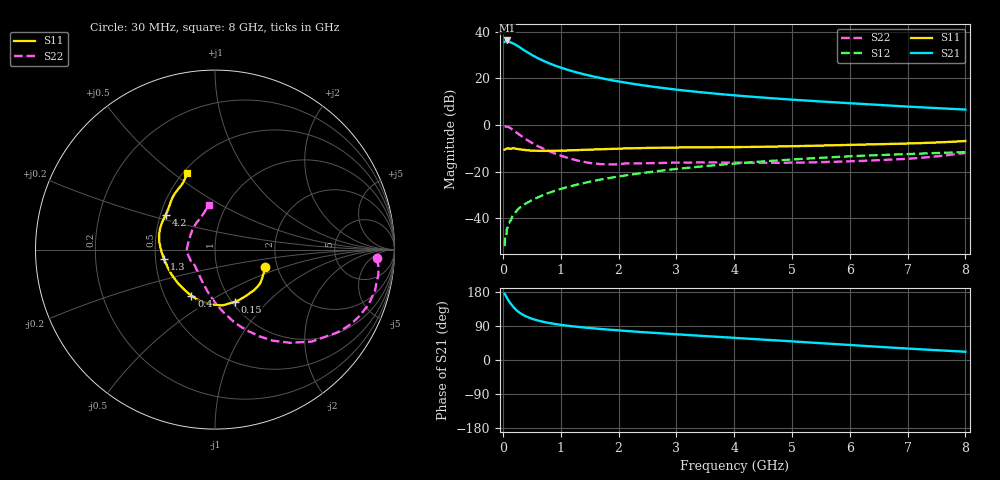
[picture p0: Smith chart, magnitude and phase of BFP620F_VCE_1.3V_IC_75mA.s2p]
! Infineon Technologies  Discrete & RF Semiconductors
! BFP620F
! VCE =  1.3 V,  IC =  75 mA
! Common Emitter S-Parameters:  Dec 2014
# GHz  S  MA  R  50
!  f  S11  S21  S12  S22
! GHz  MAG  ANG  MAG  ANG  MAG  ANG  MAG  ANG
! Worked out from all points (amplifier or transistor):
!   95 points, 30 MHz to 8 GHz, reference 50 ohm
!   highest |S21| = 36.3 dB at 70 MHz (marker M1)
!   |S21| within 3 dB of that: start of sweep to 295.9 MHz
!   unconditionally stable (mu >= 1): 1.541 GHz to end of sweep
!   at 300 MHz: K = 0.58, MSG = 34.3 dB, |S12| = -35.3 dB
!   at 3.3 GHz: K = 1.04, MAG = 15.1 dB, |S12| = -18.1 dB
!   at 8 GHz: K = 1.05, MAG = 7.7 dB, |S12| = -11.7 dB
!   S11 on the Smith chart (normalised r, x): 30 MHz: 1.73, -0.37; 150 MHz: 1.03, -0.67; 400 MHz: 0.68, -0.38; 1.3 GHz: 0.56, -0.06; 4.2 GHz: 0.53, +0.24; 8 GHz: 0.52, +0.56
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0.03  0.2965 -19.1  60.71 174.7  0.0025 100.6  0.9037 -3.1
0.05  0.3038 -28.5  63.77 169.6  0.0043 84.4  0.921 -8.9
0.07  0.3139 -36.4  65.19 164.1  0.006 95.5  0.9207 -14.3
0.1  0.3108 -50.7  62.31 156.3  0.0077 81.5  0.895 -22.5
0.12  0.3102 -59.1  59.86 151.8  0.0086 78.9  0.8694 -27.6
0.15  0.3117 -68.9  58.58 145.8  0.0102 75.7  0.8224 -34.2
0.2  0.3141 -82.7  54.33 136.6  0.0126 73.6  0.7434 -43.6
0.25  0.3056 -93.4  50.19 129.4  0.0149 71.5  0.6672 -51.1
0.35  0.2944 -110.4  41.44 119.0  0.0188 69.9  0.5427 -62.9
0.4  0.2884 -117.1  37.93 115.2  0.0207 69.3  0.492 -67.6
0.5  0.2809 -128.0  31.9 109.1  0.0242 69.5  0.4147 -75.5
0.7  0.2774 -144.1  23.85 100.7  0.0314 70.0  0.3092 -88.0
1  0.2821 -159.4  17.07 92.8  0.0423 69.9  0.2199 -103.7
1.3  0.2885 -170.0  13.2 87.4  0.0531 69.2  0.1712 -119.7
1.4  0.2924 -172.6  12.27 85.9  0.0566 69.0  0.1613 -125.0
1.9  0.3064 176.0  9.047 79.4  0.0748 66.9  0.1417 -149.7
2.7  0.3243 163.1  6.375 70.8  0.103 62.1  0.1524 -168.5
4.1  0.3353 145.7  4.231 57.5  0.1512 52.8  0.1548 173.5
4.2  0.3364 144.5  4.134 56.6  0.1546 52.1  0.1548 171.8
5.4  0.3585 134.2  3.252 45.3  0.1942 43.1  0.1581 150.3
6.7  0.3914 122.5  2.607 33.0  0.2301 32.8  0.1803 125.6
8  0.4527 110.4  2.142 21.7  0.261 22.9  0.2511 98.1
